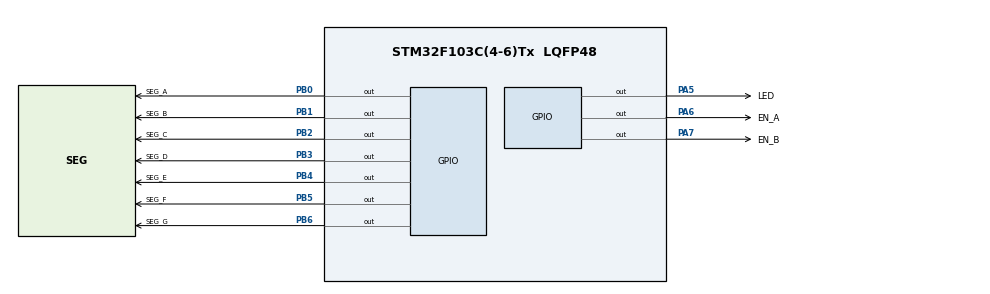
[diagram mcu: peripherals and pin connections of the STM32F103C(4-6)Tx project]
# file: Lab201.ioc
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Mcu.Family=STM32F1
Mcu.Name=STM32F103C(4-6)Tx
Mcu.Package=LQFP48
NVIC.PriorityGroup=NVIC_PRIORITYGROUP_4
NVIC.TIM2_IRQn=true\:0\:0\:false\:false\:true\:true\:true\:true
PA5.GPIO_Label=LED
PA5.Signal=GPIO_Output
PA6.GPIO_Label=EN_A
PA6.Signal=GPIO_Output
PA7.GPIO_Label=EN_B
PA7.Signal=GPIO_Output
PB0.GPIO_Label=SEG_A
PB0.Signal=GPIO_Output
PB1.GPIO_Label=SEG_B
PB1.Signal=GPIO_Output
PB2.GPIO_Label=SEG_C
PB2.Signal=GPIO_Output
PB3.GPIO_Label=SEG_D
PB3.Signal=GPIO_Output
PB4.GPIO_Label=SEG_E
PB4.Signal=GPIO_Output
PB5.GPIO_Label=SEG_F
PB5.Signal=GPIO_Output
PB6.GPIO_Label=SEG_G
PB6.Signal=GPIO_Output
ProjectManager.HeapSize=0x200
ProjectManager.StackSize=0x400
ProjectManager.TargetToolchain=STM32CubeIDE
RCC.APB1Freq_Value=8000000
RCC.APB2Freq_Value=8000000
TIM2.Period=2
TIM2.Prescaler=7999
VP_TIM2_VS_ClockSourceINT.Mode=Internal
board=custom

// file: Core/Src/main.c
/* USER CODE BEGIN Header */
/**
  ******************************************************************************
  * @file           : main.c
  * @brief          : Main program body
  ******************************************************************************
  * @attention
  *
  * Copyright (c) 2022 STMicroelectronics.
  * All rights reserved.
  *
  * This software is licensed under terms that can be found in the LICENSE file
  * in the root directory of this software component.
  * If no LICENSE file comes with this software, it is provided AS-IS.
  *
  ******************************************************************************
  */
/* USER CODE END Header */
#include "main.h"
#include "7seg.h"

TIM_HandleTypeDef htim2;

void SystemClock_Config(void);
static void MX_GPIO_Init(void);
static void MX_TIM2_Init(void);

/* USER CODE BEGIN 0 */
void HAL_TIM_PeriodElapsedCallback(TIM_HandleTypeDef *htim);

typedef enum State {Off, On} EState;
void tswitch (EState state) {
	if (state == On) {
		HAL_GPIO_WritePin(EN_A_GPIO_Port,EN_A_Pin, 0);
		HAL_GPIO_WritePin(EN_B_GPIO_Port, EN_B_Pin, 1);
	}
	if (state == Off){
		HAL_GPIO_WritePin(EN_A_GPIO_Port, EN_A_Pin, 1);
		HAL_GPIO_WritePin(EN_B_GPIO_Port, EN_B_Pin, 0);
	}
}

/* USER CODE END 0 */

int main(void)
{

  /* MCU Configuration--------------------------------------------------------*/

  /* Reset of all peripherals, Initializes the Flash interface and the Systick. */
  HAL_Init();

  /* Configure the system clock */
  SystemClock_Config();

  /* Initialize all configured peripherals */
  MX_GPIO_Init();
  MX_TIM2_Init();
  /* USER CODE BEGIN 2 */
  HAL_TIM_Base_Start_IT (& htim2 );
  /* USER CODE END 2 */

  /* Infinite loop */
  /* USER CODE BEGIN WHILE */
//  int i = 0;
  while (1)
  {
    /* USER CODE END WHILE */
//	  if (i > 9) i =0;
//	  Display7Seg(i);
//	  i++;
//	  HAL_Delay(500);
  }
}

void SystemClock_Config(void)
{
  RCC_OscInitTypeDef RCC_OscInitStruct = {0};
  RCC_ClkInitTypeDef RCC_ClkInitStruct = {0};

  /** Initializes the RCC Oscillators according to the specified parameters
  * in the RCC_OscInitTypeDef structure.
  */
  RCC_OscInitStruct.OscillatorType = RCC_OSCILLATORTYPE_HSI;
  RCC_OscInitStruct.HSIState = RCC_HSI_ON;
  RCC_OscInitStruct.HSICalibrationValue = RCC_HSICALIBRATION_DEFAULT;
  RCC_OscInitStruct.PLL.PLLState = RCC_PLL_NONE;
  if (HAL_RCC_OscConfig(&RCC_OscInitStruct) != HAL_OK)
  {
    Error_Handler();
  }

  /** Initializes the CPU, AHB and APB buses clocks
  */
  RCC_ClkInitStruct.ClockType = RCC_CLOCKTYPE_HCLK|RCC_CLOCKTYPE_SYSCLK
                              |RCC_CLOCKTYPE_PCLK1|RCC_CLOCKTYPE_PCLK2;
  RCC_ClkInitStruct.SYSCLKSource = RCC_SYSCLKSOURCE_HSI;
  RCC_ClkInitStruct.AHBCLKDivider = RCC_SYSCLK_DIV1;
  RCC_ClkInitStruct.APB1CLKDivider = RCC_HCLK_DIV1;
  RCC_ClkInitStruct.APB2CLKDivider = RCC_HCLK_DIV1;

  if (HAL_RCC_ClockConfig(&RCC_ClkInitStruct, FLASH_LATENCY_0) != HAL_OK)
  {
    Error_Handler();
  }
}

static void MX_TIM2_Init(void)
{

  TIM_ClockConfigTypeDef sClockSourceConfig = {0};
  TIM_MasterConfigTypeDef sMasterConfig = {0};

  htim2.Instance = TIM2;
  htim2.Init.Prescaler = 7999;
  htim2.Init.CounterMode = TIM_COUNTERMODE_UP;
  htim2.Init.Period = 2;
  htim2.Init.ClockDivision = TIM_CLOCKDIVISION_DIV1;
  htim2.Init.AutoReloadPreload = TIM_AUTORELOAD_PRELOAD_DISABLE;
  if (HAL_TIM_Base_Init(&htim2) != HAL_OK)
  {
    Error_Handler();
  }
  sClockSourceConfig.ClockSource = TIM_CLOCKSOURCE_INTERNAL;
  if (HAL_TIM_ConfigClockSource(&htim2, &sClockSourceConfig) != HAL_OK)
  {
    Error_Handler();
  }
  sMasterConfig.MasterOutputTrigger = TIM_TRGO_RESET;
  sMasterConfig.MasterSlaveMode = TIM_MASTERSLAVEMODE_DISABLE;
  if (HAL_TIMEx_MasterConfigSynchronization(&htim2, &sMasterConfig) != HAL_OK)
  {
    Error_Handler();
  }

}

static void MX_GPIO_Init(void)
{
  GPIO_InitTypeDef GPIO_InitStruct = {0};

  /* GPIO Ports Clock Enable */
  __HAL_RCC_GPIOA_CLK_ENABLE();
  __HAL_RCC_GPIOB_CLK_ENABLE();

  /*Configure GPIO pin Output Level */
  HAL_GPIO_WritePin(GPIOA, LED_Pin|EN_A_Pin|EN_B_Pin, GPIO_PIN_RESET);

  /*Configure GPIO pin Output Level */
  HAL_GPIO_WritePin(GPIOB, SEG_A_Pin|SEG_B_Pin|SEG_C_Pin|SEG_D_Pin
                          |SEG_E_Pin|SEG_F_Pin|SEG_G_Pin, GPIO_PIN_RESET);

  /*Configure GPIO pins : LED_Pin EN_A_Pin EN_B_Pin */
  GPIO_InitStruct.Pin = LED_Pin|EN_A_Pin|EN_B_Pin;
  GPIO_InitStruct.Mode = GPIO_MODE_OUTPUT_PP;
  GPIO_InitStruct.Pull = GPIO_NOPULL;
  GPIO_InitStruct.Speed = GPIO_SPEED_FREQ_LOW;
  HAL_GPIO_Init(GPIOA, &GPIO_InitStruct);

  /*Configure GPIO pins : SEG_A_Pin SEG_B_Pin SEG_C_Pin SEG_D_Pin
                           SEG_E_Pin SEG_F_Pin SEG_G_Pin */
  GPIO_InitStruct.Pin = SEG_A_Pin|SEG_B_Pin|SEG_C_Pin|SEG_D_Pin
                          |SEG_E_Pin|SEG_F_Pin|SEG_G_Pin;
  GPIO_InitStruct.Mode = GPIO_MODE_OUTPUT_PP;
  GPIO_InitStruct.Pull = GPIO_NOPULL;
  GPIO_InitStruct.Speed = GPIO_SPEED_FREQ_LOW;
  HAL_GPIO_Init(GPIOB, &GPIO_InitStruct);

}

/* USER CODE BEGIN 4 */
int counter = 50;
int n_LedStatus= On;
void HAL_TIM_PeriodElapsedCallback(TIM_HandleTypeDef *htim){
	if (counter > 0) {
		counter-=1;
	}
	if (counter == 0) {
		if(n_LedStatus == On) {
			tswitch(On);
			Display7Seg(1);
		}
		if(n_LedStatus == Off) {
			tswitch(Off);
			Display7Seg(2);
		}
		n_LedStatus = n_LedStatus == On ? Off : On;
		counter = 50;
	}
}
/* USER CODE END 4 */

void Error_Handler(void)
{
  __disable_irq();
  while (1)
  {
  }
}
